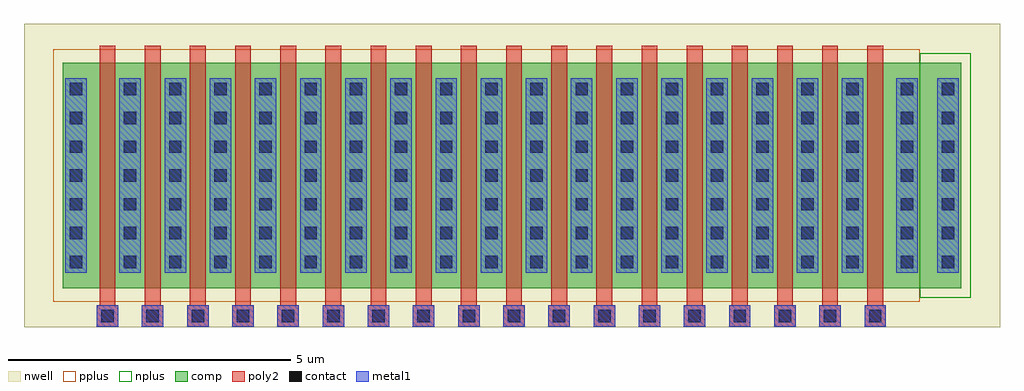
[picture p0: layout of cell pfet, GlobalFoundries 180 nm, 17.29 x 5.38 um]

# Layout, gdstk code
import gdstk
lib = gdstk.Library(unit=1e-6, precision=1e-09)
def R(c, l, rs):  # rectangles x0, y0, x1, y1
    for r in rs: c.add(gdstk.rectangle(r[:2], r[2:], *l))
def A(c, l, x, y, w, h, nx, ny, dx, dy):  # array of equal rectangles
    R(c, l, [(x+i*dx, y+j*dy, x+i*dx+w, y+j*dy+h) for i in range(nx) for j in range(ny)])
nwell = (21, 0)
comp = (22, 0)
poly2 = (30, 0)
pplus = (31, 0)
nplus = (32, 0)
contact = (33, 0)
metal1 = (34, 0)

pfet = lib.new_cell('pfet')
R(pfet, nwell, [(-1.15,-0.69,16.14,4.69)])
R(pfet, comp, [(-0.46,0,0,4), (0,0,14.26,4), (14.26,0,14.72,4), (14.72,0,15.45,4)])
A(pfet, poly2, 0.14, -0.68, 0.38, 0.38, 18, 1, 0.8, 0)
A(pfet, poly2, 0.19, -0.3, 0.28, 4.6, 18, 1, 0.8, 0)
R(pfet, pplus, [(-0.63,-0.24,14.72,4.24)])
R(pfet, nplus, [(14.72,-0.17,15.62,4.17)])
A(pfet, contact, 0.22, -0.6, 0.22, 0.22, 18, 1, 0.8, 0)
A(pfet, contact, -0.34, 0.36, 0.22, 0.22, 1, 7, 0, 0.51)
A(pfet, contact, 0.62, 0.36, 0.22, 0.22, 17, 7, 0.8, 0.51)
A(pfet, contact, 14.38, 0.36, 0.22, 0.22, 1, 7, 0, 0.51)
A(pfet, contact, 15.11, 0.36, 0.22, 0.22, 1, 7, 0, 0.51)
A(pfet, metal1, 0.14, -0.681, 0.38, 0.382, 18, 1, 0.8, 0)
A(pfet, metal1, 0.54, 0.28, 0.38, 3.44, 17, 1, 0.8, 0)
R(pfet, metal1, [(-0.42,0.28,-0.04,3.72), (14.3,0.28,14.68,3.72), (15.03,0.28,15.41,3.72)])

lib.write_gds('pfet.gds')
